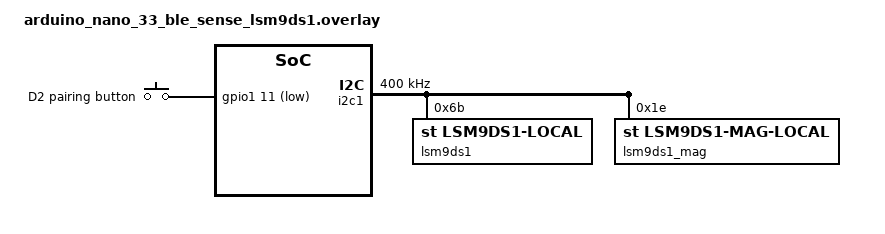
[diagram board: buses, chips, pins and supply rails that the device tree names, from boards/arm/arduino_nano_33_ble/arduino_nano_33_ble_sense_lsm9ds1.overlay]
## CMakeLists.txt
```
cmake_minimum_required(VERSION 3.20.0)

set(BOARD_ROOT ${CMAKE_CURRENT_LIST_DIR})
set(DTS_ROOT ${CMAKE_CURRENT_LIST_DIR})

add_compile_definitions(PERSISTED_CONFIG_SIZE=2048)

find_package(Zephyr REQUIRED HINTS $ENV{ZEPHYR_BASE})
project(NONE)

set(REMAPPER_SRC ../firmware/src)

target_include_directories(app PRIVATE ${REMAPPER_SRC})

target_sources(app PRIVATE
    src/main.cc
    src/gpio.cc
    src/ble_nus.cc
    src/apds9960_sensor.cc
    src/mic_level.cc
    src/motion_fusion.cc
    src/motion_sensor.cc
    src/sensor_inputs.cc
    src/lsm9ds1_local.cc
    ${REMAPPER_SRC}/config.cc
    ${REMAPPER_SRC}/crc.cc
    ${REMAPPER_SRC}/nus_protocol.cc
    ${REMAPPER_SRC}/descriptor_parser.cc
    ${REMAPPER_SRC}/globals.cc
    ${REMAPPER_SRC}/interval_override.cc
    ${REMAPPER_SRC}/our_descriptor.cc
    ${REMAPPER_SRC}/quirks.cc
    ${REMAPPER_SRC}/remapper.cc
    ${REMAPPER_SRC}/ps_auth.cc
)
```

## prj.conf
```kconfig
CONFIG_LOG=y
CONFIG_LOG_MAX_LEVEL=2
CONFIG_LOG_FUNC_NAME_PREFIX_INF=y
CONFIG_LOG_BUFFER_SIZE=4096

CONFIG_USE_DT_CODE_PARTITION=y
CONFIG_KERNEL_BIN_NAME="remapper"
CONFIG_BUILD_OUTPUT_UF2=y

CONFIG_CPLUSPLUS=y
CONFIG_STD_CPP17=y
CONFIG_NEWLIB_LIBC=y
CONFIG_LIB_CPLUSPLUS=y

CONFIG_HEAP_MEM_POOL_SIZE=16384
CONFIG_SYSTEM_WORKQUEUE_STACK_SIZE=16384

CONFIG_FLASH=y
CONFIG_FLASH_PAGE_LAYOUT=y
CONFIG_FLASH_MAP=y
CONFIG_NVS=y
CONFIG_SETTINGS=y

CONFIG_GPIO=y

CONFIG_SENSOR=y
CONFIG_I2C=y
CONFIG_LSM6DSL_TRIGGER_GLOBAL_THREAD=y
CONFIG_LSM6DSL=y
CONFIG_CBPRINTF_FP_SUPPORT=y

CONFIG_BT=y
CONFIG_BT_CENTRAL=y
CONFIG_BT_PERIPHERAL=y
CONFIG_BT_SMP=y
CONFIG_BT_L2CAP_TX_BUF_COUNT=10
CONFIG_BT_L2CAP_TX_MTU=247
CONFIG_BT_BUF_ACL_RX_SIZE=251
CONFIG_BT_BUF_ACL_TX_COUNT=10
CONFIG_BT_BUF_ACL_TX_SIZE=251
CONFIG_BT_USER_DATA_LEN_UPDATE=y
CONFIG_BT_USER_PHY_UPDATE=y
CONFIG_BT_CTLR_PHY_2M=y
CONFIG_BT_GATT_CLIENT=y
CONFIG_BT_GATT_DM=y
CONFIG_BT_HOGP=y
CONFIG_BT_HIDS=y
CONFIG_BT_HIDS_MAX_CLIENT_COUNT=1
CONFIG_BT_HIDS_DEFAULT_PERM_RW_ENCRYPT=y
CONFIG_BT_HIDS_INPUT_REP_MAX=8
CONFIG_BT_HIDS_OUTPUT_REP_MAX=4
CONFIG_BT_HIDS_FEATURE_REP_MAX=4
CONFIG_BT_HIDS_ATTR_MAX=50
CONFIG_BT_CONN_CTX=y
CONFIG_BT_GATT_UUID16_POOL_SIZE=40
CONFIG_BT_GATT_CHRC_POOL_SIZE=20
CONFIG_BT_SCAN=y
CONFIG_BT_SCAN_FILTER_ENABLE=y
CONFIG_BT_SCAN_UUID_CNT=1
CONFIG_BT_SCAN_ADDRESS_CNT=8
CONFIG_BT_PRIVACY=y
CONFIG_BT_SETTINGS=y
CONFIG_BT_MAX_CONN=10
CONFIG_BT_MAX_PAIRED=32
CONFIG_BT_KEYS_OVERWRITE_OLDEST=y
CONFIG_BT_GATT_DM_MAX_ATTRS=100
CONFIG_BT_HOGP_REPORTS_MAX=32
CONFIG_BT_DEVICE_NAME="HID Remapper Bluetooth"
CONFIG_ENABLE_HID_INT_OUT_EP=y

CONFIG_USB_DEVICE_STACK=y
CONFIG_USB_DEVICE_HID=y
CONFIG_USB_HID_DEVICE_COUNT=2
CONFIG_USB_HID_POLL_INTERVAL_MS=1
CONFIG_USB_NRFX_EVT_QUEUE_SIZE=64
CONFIG_USB_DEVICE_VID=0xCAFE
CONFIG_USB_DEVICE_PID=0xBAF2
CONFIG_USB_DEVICE_MANUFACTURER="nRF52840"
CONFIG_USB_DEVICE_PRODUCT="HID Remapper Bluetooth"
CONFIG_USB_SELF_POWERED=n
CONFIG_USB_DEVICE_SOF=y
CONFIG_HID_INTERRUPT_EP_MPS=64

CONFIG_USB_CDC_ACM=y
CONFIG_USB_CDC_ACM_RINGBUF_SIZE=2048
```

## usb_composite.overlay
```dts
/ {
	chosen {
		zephyr,cdc-acm-uart = &cdc_acm_uart0;
	};
};

&zephyr_udc0 {
	cdc_acm_uart0: cdc_acm_uart0 {
		compatible = "zephyr,cdc-acm-uart";
	};
};
```

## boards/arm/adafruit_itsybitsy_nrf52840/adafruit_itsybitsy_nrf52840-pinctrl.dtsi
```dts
/*
 * Copyright (c) 2024
 * SPDX-License-Identifier: Apache-2.0
 */

&pinctrl {
	uart0_default: uart0_default {
		group1 {
			psels = <NRF_PSEL(UART_TX, 0, 24)>,
				<NRF_PSEL(UART_RX, 0, 25)>;
		};
	};

	uart0_sleep: uart0_sleep {
		group1 {
			psels = <NRF_PSEL(UART_TX, 0, 24)>,
				<NRF_PSEL(UART_RX, 0, 25)>;
			low-power-enable;
		};
	};

	i2c0_default: i2c0_default {
		group1 {
			psels = <NRF_PSEL(TWIM_SDA, 0, 12)>,
				<NRF_PSEL(TWIM_SCL, 0, 11)>;
		};
	};

	i2c0_sleep: i2c0_sleep {
		group1 {
			psels = <NRF_PSEL(TWIM_SDA, 0, 12)>,
				<NRF_PSEL(TWIM_SCL, 0, 11)>;
			low-power-enable;
		};
	};

	spi1_default: spi1_default {
		group1 {
			psels = <NRF_PSEL(SPIM_SCK, 0, 14)>,
				<NRF_PSEL(SPIM_MOSI, 0, 13)>,
				<NRF_PSEL(SPIM_MISO, 0, 15)>;
		};
	};

	spi1_sleep: spi1_sleep {
		group1 {
			psels = <NRF_PSEL(SPIM_SCK, 0, 14)>,
				<NRF_PSEL(SPIM_MOSI, 0, 13)>,
				<NRF_PSEL(SPIM_MISO, 0, 15)>;
			low-power-enable;
		};
	};

	qspi_default: qspi_default {
		group1 {
			psels = <NRF_PSEL(QSPI_SCK, 0, 19)>,
				<NRF_PSEL(QSPI_IO0, 0, 17)>,
				<NRF_PSEL(QSPI_IO1, 0, 22)>,
				<NRF_PSEL(QSPI_IO2, 0, 23)>,
				<NRF_PSEL(QSPI_IO3, 0, 21)>,
				<NRF_PSEL(QSPI_CSN, 0, 20)>;
		};
	};

	qspi_sleep: qspi_sleep {
		group1 {
			psels = <NRF_PSEL(QSPI_SCK, 0, 19)>,
				<NRF_PSEL(QSPI_IO0, 0, 17)>,
				<NRF_PSEL(QSPI_IO1, 0, 22)>,
				<NRF_PSEL(QSPI_IO2, 0, 23)>,
				<NRF_PSEL(QSPI_IO3, 0, 21)>,
				<NRF_PSEL(QSPI_CSN, 0, 20)>;
			low-power-enable;
		};
	};
}; 
```

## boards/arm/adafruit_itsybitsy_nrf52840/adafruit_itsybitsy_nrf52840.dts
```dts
/*
 * Copyright (c) 2024
 *
 * SPDX-License-Identifier: Apache-2.0
 */

/dts-v1/;
#include <nordic/nrf52840_qiaa.dtsi>
#include "adafruit_itsybitsy_nrf52840-pinctrl.dtsi"

/ {
	model = "Adafruit ItsyBitsy nRF52840";
	compatible = "adafruit,itsybitsy-nrf52840";

	chosen {
		zephyr,console = &uart0;
		zephyr,shell-uart = &uart0;
		zephyr,uart-mcumgr = &uart0;
		zephyr,bt-mon-uart = &uart0;
		zephyr,bt-c2h-uart = &uart0;
		zephyr,sram = &sram0;
		zephyr,flash = &flash0;
		zephyr,code-partition = &code_partition;
	};

	leds {
		compatible = "gpio-leds";
		led0: led_0 {
			gpios = <&gpio0 6 0>;
			label = "Red LED";
		};
		led1: led_1 {
			gpios = <&gpio0 7 0>;
			label = "Blue LED";
		};
	};

	buttons {
		compatible = "gpio-keys";
		button0: button_0 {
			gpios = <&gpio0 29 (GPIO_PULL_UP | GPIO_ACTIVE_LOW)>;
			label = "Push button switch";
		};
	};

	/* These aliases are provided for compatibility with samples */
	aliases {
		led0 = &led0;
		led1 = &led1;
		sw0 = &button0;
	};
};

&adc {
	status = "okay";
};

&gpiote {
	status = "okay";
};

&gpio0 {
	status = "okay";
};

&gpio1 {
	status = "okay";
};

&uart0 {
	compatible = "nordic,nrf-uart";
	current-speed = <921600>;
	status = "okay";
	pinctrl-0 = <&uart0_default>;
	pinctrl-1 = <&uart0_sleep>;
	pinctrl-names = "default", "sleep";
};

&i2c0 {
	compatible = "nordic,nrf-twi";
	status = "okay";
	pinctrl-0 = <&i2c0_default>;
	pinctrl-1 = <&i2c0_sleep>;
	pinctrl-names = "default", "sleep";
};

&spi1 {
	compatible = "nordic,nrf-spi";
	status = "okay";
	pinctrl-0 = <&spi1_default>;
	pinctrl-1 = <&spi1_sleep>;
	pinctrl-names = "default", "sleep";
};

&qspi {
	status = "okay";
	pinctrl-0 = <&qspi_default>;
	pinctrl-1 = <&qspi_sleep>;
	pinctrl-names = "default", "sleep";
	gd25q16: gd25q16@0 {
		compatible = "nordic,qspi-nor";
		reg = <0>;
		writeoc = "pp4o";
		readoc = "read4io";
		sck-frequency = <16000000>;
		label = "GD25Q16";
		jedec-id = [c8 40 15];
		size = <16777216>;
		has-dpd;
		t-enter-dpd = <20000>;
		t-exit-dpd = <20000>;
		quad-enable-requirements = "S2B1v1";
	};
};

&flash0 {

	partitions {
		compatible = "fixed-partitions";
		#address-cells = <1>;
		#size-cells = <1>;

        sd_partition: partition@0 {
            label = "softdevice";
            reg = <0x00000000 0x00026000>;
        };

        code_partition: partition@26000 {
            label = "code_partition";
            reg = <0x00026000 0x000c6000>;
        };

        storage_partition: partition@ec000 {
            label = "storage";
            reg = <0x000ec000 0x00008000>;
        };

        boot_partition: partition@f4000 {
            label = "adafruit_boot";
            reg = <0x000f4000 0x0000c000>;
        };
	};
};

zephyr_udc0: &usbd {
	compatible = "nordic,nrf-usbd";
	status = "okay";
}; 
```

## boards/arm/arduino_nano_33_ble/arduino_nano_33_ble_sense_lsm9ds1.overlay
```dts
#include <zephyr/dt-bindings/i2c/i2c.h>

/ {
	buttons {
		compatible = "gpio-keys";
		button0: button_0 {
			gpios = <&gpio1 11 (GPIO_PULL_UP | GPIO_ACTIVE_LOW)>;
			label = "D2 pairing button";
		};
	};

	aliases {
		accel0 = &lsm9ds1;
		magn0 = &lsm9ds1_mag;
		sw0 = &button0;
	};
};

/* The onboard sensors use i2c1. Leave the header A4/A5 pins available as
 * logical GPIO 18/19 instead of claiming them for the unused external bus. */
&i2c0 {
	status = "disabled";
};

&i2c1 {
	status = "okay";
	clock-frequency = <I2C_BITRATE_FAST>;

	lsm9ds1: lsm9ds1@6b {
		compatible = "st,lsm9ds1-local";
		reg = <0x6b>;
		status = "okay";
	};

	lsm9ds1_mag: lsm9ds1-mag@1e {
		compatible = "st,lsm9ds1-mag-local";
		reg = <0x1e>;
		status = "okay";
	};
};
```

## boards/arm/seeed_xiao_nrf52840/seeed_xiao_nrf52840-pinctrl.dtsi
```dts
/*
 * Copyright (c) 2022 Nordic Semiconductor
 * SPDX-License-Identifier: Apache-2.0
 */

&pinctrl {
	uart0_default: uart0_default {
		group1 {
			psels = <NRF_PSEL(UART_TX, 1, 11)>,
				<NRF_PSEL(UART_RX, 1, 12)>;
		};
	};

	uart0_sleep: uart0_sleep {
		group1 {
			psels = <NRF_PSEL(UART_TX, 1, 11)>,
				<NRF_PSEL(UART_RX, 1, 12)>;
			low-power-enable;
		};
	};

	i2c0_default: i2c0_default {
		group1 {
			psels = <NRF_PSEL(TWIM_SDA, 0, 7)>,
				<NRF_PSEL(TWIM_SCL, 0, 27)>;
		};
	};

	i2c0_sleep: i2c0_sleep {
		group1 {
			psels = <NRF_PSEL(TWIM_SDA, 0, 7)>,
				<NRF_PSEL(TWIM_SCL, 0, 27)>;
			low-power-enable;
		};
	};

	spi1_default: spi1_default {
		group1 {
			psels = <NRF_PSEL(SPIM_SCK, 1, 13)>,
				<NRF_PSEL(SPIM_MOSI, 1, 15)>,
				<NRF_PSEL(SPIM_MISO, 1, 14)>;
		};
	};

	spi1_sleep: spi1_sleep {
		group1 {
			psels = <NRF_PSEL(SPIM_SCK, 1, 13)>,
				<NRF_PSEL(SPIM_MOSI, 1, 15)>,
				<NRF_PSEL(SPIM_MISO, 1, 14)>;
			low-power-enable;
		};
	};

	qspi_default: qspi_default {
		group1 {
			psels = <NRF_PSEL(QSPI_SCK, 0, 19)>,
				<NRF_PSEL(QSPI_IO0, 0, 17)>,
				<NRF_PSEL(QSPI_IO1, 0, 22)>,
				<NRF_PSEL(QSPI_IO2, 0, 23)>,
				<NRF_PSEL(QSPI_IO3, 0, 21)>,
				<NRF_PSEL(QSPI_CSN, 0, 20)>;
		};
	};

	qspi_sleep: qspi_sleep {
		group1 {
			psels = <NRF_PSEL(QSPI_SCK, 0, 19)>,
				<NRF_PSEL(QSPI_IO0, 0, 17)>,
				<NRF_PSEL(QSPI_IO1, 0, 22)>,
				<NRF_PSEL(QSPI_IO2, 0, 23)>,
				<NRF_PSEL(QSPI_IO3, 0, 21)>,
				<NRF_PSEL(QSPI_CSN, 0, 20)>;
			low-power-enable;
		};
	};

};
```

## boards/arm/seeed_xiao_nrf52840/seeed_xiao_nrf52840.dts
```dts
/*
 * Copyright (c) 2020 Tobias Svehagen
 *
 * SPDX-License-Identifier: Apache-2.0
 */

/dts-v1/;
#include <nordic/nrf52840_qiaa.dtsi>
#include "seeed_xiao_nrf52840-pinctrl.dtsi"

/ {
	model = "Seeed Studio XIAO nRF52840";
	compatible = "seeed,xiao-nrf52840";

	chosen {
		zephyr,console = &uart0;
		zephyr,shell-uart = &uart0;
		zephyr,uart-mcumgr = &uart0;
		zephyr,bt-mon-uart = &uart0;
		zephyr,bt-c2h-uart = &uart0;
		zephyr,sram = &sram0;
		zephyr,flash = &flash0;
		zephyr,code-partition = &code_partition;
	};

	leds {
		compatible = "gpio-leds";
		led0: led_0 {
			gpios = <&gpio0 26 GPIO_ACTIVE_LOW>;
			label = "Red LED";
		};
		led1: led_1 {
			gpios = <&gpio0 6 GPIO_ACTIVE_LOW>;
			label = "Blue LED";
		};
	};

	buttons {
		compatible = "gpio-keys";
		button0: button_0 {
			gpios = <&gpio0 2 (GPIO_PULL_UP | GPIO_ACTIVE_LOW)>;
			label = "Push button switch";
		};
	};

	/* These aliases are provided for compatibility with samples */
	aliases {
		led0 = &led0;
		led1 = &led1;
		sw0 = &button0;
	};
};

&adc {
	status = "okay";
};

&gpiote {
	status = "okay";
};

&gpio0 {
	status = "okay";
};

&gpio1 {
	status = "okay";
};

&uart0 {
	compatible = "nordic,nrf-uart";
	current-speed = <921600>;
	status = "okay";
	pinctrl-0 = <&uart0_default>;
	pinctrl-1 = <&uart0_sleep>;
	pinctrl-names = "default", "sleep";
};

&i2c0 {
	compatible = "nordic,nrf-twi";
	status = "disabled";
	pinctrl-0 = <&i2c0_default>;
	pinctrl-1 = <&i2c0_sleep>;
	pinctrl-names = "default", "sleep";
};

&spi1 {
	compatible = "nordic,nrf-spi";
	status = "okay";
	pinctrl-0 = <&spi1_default>;
	pinctrl-1 = <&spi1_sleep>;
	pinctrl-names = "default", "sleep";
};

&qspi {
	status = "okay";
	pinctrl-0 = <&qspi_default>;
	pinctrl-1 = <&qspi_sleep>;
	pinctrl-names = "default", "sleep";
	gd25q16: gd25q16@0 {
		compatible = "nordic,qspi-nor";
		reg = <0>;
		writeoc = "pp4o";
		readoc = "read4io";
		sck-frequency = <16000000>;
		label = "GD25Q16";
		jedec-id = [c8 40 15];
		size = <16777216>;
		has-dpd;
		t-enter-dpd = <20000>;
		t-exit-dpd = <20000>;
		quad-enable-requirements = "S2B1v1";
	};
};

&flash0 {

	partitions {
		compatible = "fixed-partitions";
		#address-cells = <1>;
		#size-cells = <1>;

        sd_partition: partition@0 {
            label = "softdevice";
            reg = <0x00000000 0x00027000>;
        };

        code_partition: partition@27000 {
            label = "code_partition";
            reg = <0x00027000 0x000c5000>;
        };

        storage_partition: partition@ec000 {
            label = "storage";
            reg = <0x000ec000 0x00008000>;
        };

        boot_partition: partition@f4000 {
            label = "adafruit_boot";
            reg = <0x000f4000 0x0000c000>;
        };
	};
};

zephyr_udc0: &usbd {
	compatible = "nordic,nrf-usbd";
	status = "okay";
};
```

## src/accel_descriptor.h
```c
#ifndef _ACCEL_DESCRIPTOR_H_
#define _ACCEL_DESCRIPTOR_H_

#include <stdint.h>

// HID Report Descriptor for accelerometer (exactly matching horipad format)
static const uint8_t accel_hid_report_desc[] = {
    0x05, 0x01,        // Usage Page (Generic Desktop Ctrls)
    0x09, 0x05,        // Usage (Game Pad)
    0xA1, 0x01,        // Collection (Application)
    0x15, 0x00,        //   Logical Minimum (0)
    0x25, 0x01,        //   Logical Maximum (1)
    0x35, 0x00,        //   Physical Minimum (0)
    0x45, 0x01,        //   Physical Maximum (1)
    0x75, 0x01,        //   Report Size (1)
    0x95, 0x0E,        //   Report Count (14)
    0x05, 0x09,        //   Usage Page (Button)
    0x19, 0x01,        //   Usage Minimum (0x01)
    0x29, 0x0E,        //   Usage Maximum (0x0E)
    0x81, 0x02,        //   Input (Data,Var,Abs,No Wrap,Linear,Preferred State,No Null Position)
    0x95, 0x02,        //   Report Count (2)
    0x81, 0x01,        //   Input (Const,Array,Abs,No Wrap,Linear,Preferred State,No Null Position)
    0x05, 0x01,        //   Usage Page (Generic Desktop Ctrls)
    0x25, 0x07,        //   Logical Maximum (7)
    0x46, 0x3B, 0x01,  //   Physical Maximum (315)
    0x75, 0x04,        //   Report Size (4)
    0x95, 0x01,        //   Report Count (1)
    0x65, 0x14,        //   Unit (System: English Rotation, Length: Centimeter)
    0x09, 0x39,        //   Usage (Hat switch)
    0x81, 0x42,        //   Input (Data,Var,Abs,No Wrap,Linear,Preferred State,Null State)
    0x65, 0x00,        //   Unit (None)
    0x95, 0x01,        //   Report Count (1)
    0x81, 0x01,        //   Input (Const,Array,Abs,No Wrap,Linear,Preferred State,No Null Position)
    0x26, 0xFF, 0x00,  //   Logical Maximum (255)
    0x46, 0xFF, 0x00,  //   Physical Maximum (255)
    0x09, 0x30,        //   Usage (X)
    0x09, 0x31,        //   Usage (Y)
    0x09, 0x32,        //   Usage (Z)
    0x09, 0x35,        //   Usage (Rz)
    0x75, 0x08,        //   Report Size (8)
    0x95, 0x04,        //   Report Count (4)
    0x81, 0x02,        //   Input (Data,Var,Abs,No Wrap,Linear,Preferred State,No Null Position)
    0x75, 0x08,        //   Report Size (8)
    0x95, 0x01,        //   Report Count (1)
    0x81, 0x01,        //   Input (Const,Array,Abs,No Wrap,Linear,Preferred State,No Null Position)
    0xC0,              // End Collection
};

#define ACCEL_HID_REPORT_DESC_SIZE sizeof(accel_hid_report_desc)

#endif // _ACCEL_DESCRIPTOR_H_ 
```

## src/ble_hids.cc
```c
#include "ble_hids.h"

#include "descriptor_parser.h"
#include "globals.h"
#include "our_descriptor.h"
#include "types.h"
#include <bluetooth/services/hids.h>
#include <zephyr/bluetooth/bluetooth.h>
#include <zephyr/bluetooth/conn.h>
#include <zephyr/bluetooth/gatt.h>
#include <zephyr/kernel.h>
#include <zephyr/logging/log.h>
#include <zephyr/sys/util.h>

LOG_MODULE_REGISTER(ble_hids, LOG_LEVEL_DBG);

#define BASE_USB_HID_SPEC_VERSION 0x0101
#define BLE_HIDS_REPORT_MAX_LEN 64

#define hids_obj (*ble_hids_get_instance())

static struct bt_conn* hids_host_conn;
static K_SEM_DEFINE(hids_notify_sem, 1, 1);
static uint8_t report_id_to_index[256];
static uint8_t input_report_count = 0;
static bool hids_notifications_enabled = false;

static void hids_pm_evt_handler(enum bt_hids_pm_evt evt, struct bt_conn* conn) {
    ARG_UNUSED(conn);
    LOG_DBG("Protocol mode event: %u", evt);
}

static void hids_notif_handler(enum bt_hids_notify_evt evt) {
    if (evt == BT_HIDS_CCCD_EVT_NOTIFY_ENABLED) {
        hids_notifications_enabled = true;
        k_sem_give(&hids_notify_sem);
        LOG_INF("BLE HID notifications enabled");
    } else if (evt == BT_HIDS_CCCD_EVT_NOTIFY_DISABLED) {
        hids_notifications_enabled = false;
        k_sem_give(&hids_notify_sem);
        LOG_INF("BLE HID notifications disabled");
    }
}

static void hids_outp_rep_handler(struct bt_hids_rep* rep, struct bt_conn* conn, bool write) {
    ARG_UNUSED(conn);
    if (!write) {
        return;
    }
    LOG_DBG("BLE HID output report len=%u", rep->size);
}

static void hids_notify_complete(struct bt_conn* conn, void* user_data) {
    ARG_UNUSED(conn);
    ARG_UNUSED(user_data);
    k_sem_give(&hids_notify_sem);
}

static uint16_t appearance_for_descriptor(void) {
    switch (our_descriptor_number) {
        case 2:
            return 0x03C4;
        default:
            return 0x03C1;
    }
}

static bool descriptor_has_keyboard(void) {
    return our_descriptor_number == 0 || our_descriptor_number == 1;
}

static bool descriptor_has_mouse(void) {
    return our_descriptor_number == 0 || our_descriptor_number == 1;
}

void ble_hids_init(void) {
    memset(report_id_to_index, 0xFF, sizeof(report_id_to_index));
    input_report_count = 0;

    std::unordered_map<uint8_t, std::unordered_map<uint32_t, usage_def_t>> input_usages;
    std::unordered_map<uint8_t, std::unordered_map<uint32_t, usage_def_t>> output_usages;
    std::unordered_map<uint8_t, std::unordered_map<uint32_t, usage_def_t>> feature_usages;
    bool has_report_id = false;

    auto report_sizes_map = parse_descriptor(
        input_usages,
        output_usages,
        feature_usages,
        has_report_id,
        our_descriptor->descriptor,
        our_descriptor->descriptor_length);

    struct bt_hids_init_param hids_init = {};
    hids_init.info.bcd_hid = BASE_USB_HID_SPEC_VERSION;
    hids_init.info.b_country_code = 0x00;
    hids_init.info.flags = BT_HIDS_REMOTE_WAKE | BT_HIDS_NORMALLY_CONNECTABLE;
    hids_init.pm_evt_handler = hids_pm_evt_handler;
    hids_init.is_kb = descriptor_has_keyboard();
    hids_init.is_mouse = descriptor_has_mouse();

    if (our_descriptor->descriptor_length > UINT8_MAX) {
        LOG_WRN("Report map length %u exceeds BLE HIDS uint8 limit; truncating",
                our_descriptor->descriptor_length);
    }
    hids_init.rep_map.data = our_descriptor->descriptor;
    hids_init.rep_map.size = (uint8_t) MIN((uint32_t) our_descriptor->descriptor_length, (uint32_t) UINT8_MAX);

    for (auto const& [report_id, size] : report_sizes_map[ReportType::INPUT]) {
        if (input_report_count >= CONFIG_BT_HIDS_INPUT_REP_MAX) {
            LOG_WRN("Too many BLE input reports; skipping id=%u", report_id);
            continue;
        }
        if (size == 0 || size > BLE_HIDS_REPORT_MAX_LEN) {
            LOG_WRN("Skipping BLE input report id=%u size=%u", report_id, size);
            continue;
        }
        struct bt_hids_inp_rep* rep = &hids_init.inp_rep_group_init.reports[input_report_count];
        rep->id = report_id;
        rep->size = (uint8_t) size;
        rep->handler = hids_notif_handler;
        rep->perm = BT_GATT_PERM_READ_ENCRYPT;
        report_id_to_index[report_id] = input_report_count;
        input_report_count++;
    }
    hids_init.inp_rep_group_init.cnt = input_report_count;

    uint8_t output_count = 0;
    for (auto const& [report_id, size] : report_sizes_map[ReportType::OUTPUT]) {
        if (output_count >= CONFIG_BT_HIDS_OUTPUT_REP_MAX) {
            break;
        }
        if (size == 0 || size > BLE_HIDS_REPORT_MAX_LEN) {
            continue;
        }
        struct bt_hids_outp_feat_rep* rep = &hids_init.outp_rep_group_init.reports[output_count];
        rep->id = report_id;
        rep->size = (uint8_t) size;
        rep->handler = hids_outp_rep_handler;
        rep->perm = BT_GATT_PERM_READ_ENCRYPT | BT_GATT_PERM_WRITE_ENCRYPT;
        output_count++;
    }
    hids_init.outp_rep_group_init.cnt = output_count;

    uint8_t feature_count = 0;
    for (auto const& [report_id, size] : report_sizes_map[ReportType::FEATURE]) {
        if (feature_count >= CONFIG_BT_HIDS_FEATURE_REP_MAX) {
            break;
        }
        if (size == 0 || size > BLE_HIDS_REPORT_MAX_LEN) {
            continue;
        }
        struct bt_hids_outp_feat_rep* rep = &hids_init.feat_rep_group_init.reports[feature_count];
        rep->id = report_id;
        rep->size = (uint8_t) size;
        rep->handler = hids_outp_rep_handler;
        rep->perm = BT_GATT_PERM_READ_ENCRYPT | BT_GATT_PERM_WRITE_ENCRYPT;
        feature_count++;
    }
    hids_init.feat_rep_group_init.cnt = feature_count;

    int err = bt_hids_init(&hids_obj, &hids_init);
    if (err) {
        LOG_ERR("bt_hids_init failed: %d", err);
        return;
    }

    LOG_INF("BLE HIDS initialized with %u input reports", input_report_count);
}

void ble_hids_on_connected(struct bt_conn* conn) {
    if (!hids_host_conn) {
        hids_host_conn = bt_conn_ref(conn);
    }
    int err = bt_hids_connected(&hids_obj, conn);
    if (err) {
        LOG_WRN("bt_hids_connected failed: %d", err);
    }
}

void ble_hids_on_disconnected(struct bt_conn* conn) {
    bt_hids_disconnected(&hids_obj, conn);
    if (conn == hids_host_conn) {
        bt_conn_unref(hids_host_conn);
        hids_host_conn = NULL;
        hids_notifications_enabled = false;
        k_sem_give(&hids_notify_sem);
    }
}

bool ble_hids_host_connected(void) {
    return hids_host_conn != NULL && hids_notifications_enabled;
}

bool ble_hids_try_send_report(const uint8_t* report_with_id, uint8_t len) {
    if (!hids_host_conn || !hids_notifications_enabled || input_report_count == 0) {
        return false;
    }

    if (k_sem_take(&hids_notify_sem, K_NO_WAIT) != 0) {
        return false;
    }

    const uint8_t* payload = report_with_id;
    uint8_t payload_len = len;
    uint8_t report_id = 0;

    if (payload_len > 0 && payload[0] != 0) {
        report_id = payload[0];
        payload++;
        payload_len--;
    }

    uint8_t rep_index = report_id_to_index[report_id];
    if (rep_index == 0xFF) {
        k_sem_give(&hids_notify_sem);
        return false;
    }

    int err = bt_hids_inp_rep_send(&hids_obj, hids_host_conn, rep_index, payload, payload_len,
                                   hids_notify_complete);
    if (err) {
        k_sem_give(&hids_notify_sem);
        LOG_DBG("bt_hids_inp_rep_send failed: %d", err);
        return false;
    }

    return true;
}

uint16_t ble_hids_appearance(void) {
    return appearance_for_descriptor();
}
```

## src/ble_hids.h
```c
#ifndef BLE_HIDS_H_

#define BLE_HIDS_H_



#include <stdint.h>



struct bt_conn;

struct bt_hids;



#ifdef __cplusplus

extern "C" {

#endif



struct bt_hids* ble_hids_get_instance(void);



void ble_hids_init(void);

void ble_hids_on_connected(struct bt_conn* conn);

void ble_hids_on_disconnected(struct bt_conn* conn);

bool ble_hids_try_send_report(const uint8_t* report_with_id, uint8_t len);

bool ble_hids_host_connected(void);

uint16_t ble_hids_appearance(void);



#ifdef __cplusplus

}

#endif



#endif
```

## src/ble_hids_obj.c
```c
#include <bluetooth/services/hids.h>

BT_HIDS_DEF(hids_obj,
            64, 64, 64, 64, 64, 64, 64, 64,
            64, 64, 64, 64,
            64, 64, 64, 64);

struct bt_hids* ble_hids_get_instance(void) {
    return &hids_obj;
}
```

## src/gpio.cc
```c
#include "gpio.h"

#include <string.h>

#include <zephyr/device.h>
#include <zephyr/devicetree.h>
#include <zephyr/drivers/gpio.h>
#include <zephyr/logging/log.h>
#include <zephyr/sys/util.h>

#include "globals.h"
#include "remapper.h"

LOG_MODULE_REGISTER(remapper_gpio, LOG_LEVEL_DBG);

struct logical_gpio_pin_t {
    const struct device* port;
    gpio_pin_t pin;
};

#define GPIO_PIN(port_, pin_) { DEVICE_DT_GET(DT_NODELABEL(port_)), pin_ }

#if defined(CONFIG_BOARD_SEEED_XIAO_NRF52840)

// GPIO usages use the labels printed on the XIAO header (D0-D10), not the
// nRF52840 port/pin numbers. D0 is reserved for the pairing/clear-bonds input.
static const logical_gpio_pin_t logical_gpio_pins[] = {
    GPIO_PIN(gpio0, 2),   // D0  = P0.02 (pairing input)
    GPIO_PIN(gpio0, 3),   // D1  = P0.03
    GPIO_PIN(gpio0, 28),  // D2  = P0.28
    GPIO_PIN(gpio0, 29),  // D3  = P0.29
    GPIO_PIN(gpio0, 4),   // D4  = P0.04
    GPIO_PIN(gpio0, 5),   // D5  = P0.05
    GPIO_PIN(gpio1, 11),  // D6  = P1.11
    GPIO_PIN(gpio1, 12),  // D7  = P1.12
    GPIO_PIN(gpio1, 13),  // D8  = P1.13
    GPIO_PIN(gpio1, 14),  // D9  = P1.14
    GPIO_PIN(gpio1, 15),  // D10 = P1.15
};

static constexpr uint32_t BOARD_GPIO_VALID_PINS_MASK = GENMASK(10, 1);

#elif defined(CONFIG_BOARD_ARDUINO_NANO_33_BLE_SENSE)

// GPIO usages follow the Arduino header labels: D0-D13 followed by A0-A7 as
// D14-D21. D2 is reserved for the pairing/clear-bonds input.
static const logical_gpio_pin_t logical_gpio_pins[] = {
    GPIO_PIN(gpio1, 10),  // D0  / RX
    GPIO_PIN(gpio1, 3),   // D1  / TX
    GPIO_PIN(gpio1, 11),  // D2  (pairing input)
    GPIO_PIN(gpio1, 12),  // D3
    GPIO_PIN(gpio1, 15),  // D4
    GPIO_PIN(gpio1, 13),  // D5
    GPIO_PIN(gpio1, 14),  // D6
    GPIO_PIN(gpio0, 23),  // D7
    GPIO_PIN(gpio0, 21),  // D8
    GPIO_PIN(gpio0, 27),  // D9
    GPIO_PIN(gpio1, 2),   // D10
    GPIO_PIN(gpio1, 1),   // D11 / MOSI
    GPIO_PIN(gpio1, 8),   // D12 / MISO
    GPIO_PIN(gpio0, 13),  // D13 / SCK
    GPIO_PIN(gpio0, 4),   // D14 / A0
    GPIO_PIN(gpio0, 5),   // D15 / A1
    GPIO_PIN(gpio0, 30),  // D16 / A2
    GPIO_PIN(gpio0, 29),  // D17 / A3
    GPIO_PIN(gpio0, 31),  // D18 / A4 / SDA
    GPIO_PIN(gpio0, 2),   // D19 / A5 / SCL
    GPIO_PIN(gpio0, 28),  // D20 / A6
    GPIO_PIN(gpio0, 3),   // D21 / A7
};

static constexpr uint32_t BOARD_GPIO_VALID_PINS_MASK = GENMASK(21, 0) & ~BIT(2);

#else

// Other Bluetooth boards retain their previous behavior until a logical
// header-to-nRF pin map is defined for them.
static const logical_gpio_pin_t logical_gpio_pins[] = {
    GPIO_PIN(gpio0, 0),
};
static constexpr uint32_t BOARD_GPIO_VALID_PINS_MASK = 0;

#endif

static uint32_t gpio_valid_pins_mask;
static uint32_t gpio_in_mask;
static uint32_t gpio_out_mask;
static uint32_t prev_gpio_state;
static uint32_t configured_output_mask;
static uint64_t last_gpio_change[32];
static bool set_gpio_dir_pending;

void gpio_pins_init() {
    gpio_valid_pins_mask = BOARD_GPIO_VALID_PINS_MASK;

    for (uint8_t logical_pin = 0; logical_pin < ARRAY_SIZE(logical_gpio_pins); logical_pin++) {
        uint32_t bit = BIT(logical_pin);
        if (!(gpio_valid_pins_mask & bit)) {
            continue;
        }

        const logical_gpio_pin_t& pin = logical_gpio_pins[logical_pin];
        if (!device_is_ready(pin.port)) {
            LOG_ERR("GPIO %u device %s is not ready", logical_pin, pin.port->name);
            gpio_valid_pins_mask &= ~bit;
        }
    }
}

void set_gpio_inout_masks(uint32_t in_mask, uint32_t out_mask) {
    // Match the non-Bluetooth firmware: input wins if a pin is used in both
    // directions, and every valid non-output pin is monitored as an input.
    gpio_out_mask = (out_mask & ~in_mask) & gpio_valid_pins_mask;
    gpio_in_mask = gpio_valid_pins_mask & ~gpio_out_mask;
    set_gpio_dir_pending = true;
}

static void set_gpio_dir() {
    for (uint8_t logical_pin = 0; logical_pin < ARRAY_SIZE(logical_gpio_pins); logical_pin++) {
        uint32_t bit = BIT(logical_pin);
        if (!(gpio_valid_pins_mask & bit)) {
            continue;
        }

        const logical_gpio_pin_t& pin = logical_gpio_pins[logical_pin];
        gpio_flags_t flags = GPIO_INPUT;
        if (gpio_in_mask & bit) {
            flags |= GPIO_PULL_UP;
        }

        int err = gpio_pin_configure(pin.port, pin.pin, flags);
        if (err != 0) {
            LOG_ERR("gpio_pin_configure(GPIO %u input) returned %d", logical_pin, err);
        }
    }

    // Output direction is applied by write_gpio(), just like on RP2040.
    configured_output_mask = 0;
}

void apply_pending_gpio_direction() {
    if (set_gpio_dir_pending && !suspended) {
        set_gpio_dir();
        set_gpio_dir_pending = false;
    }
}

bool read_gpio(uint64_t now) {
    uint32_t gpio_state = 0;

    for (uint8_t logical_pin = 0; logical_pin < ARRAY_SIZE(logical_gpio_pins); logical_pin++) {
        uint32_t bit = BIT(logical_pin);
        if (!(gpio_in_mask & bit)) {
            continue;
        }

        const logical_gpio_pin_t& pin = logical_gpio_pins[logical_pin];
        int value = gpio_pin_get_raw(pin.port, pin.pin);
        if (value < 0) {
            LOG_ERR("gpio_pin_get_raw(GPIO %u) returned %d", logical_pin, value);
        } else if (value != 0) {
            gpio_state |= bit;
        }
    }

    uint32_t changed = prev_gpio_state ^ gpio_state;
    if (changed != 0) {
        for (uint8_t logical_pin = 0; logical_pin < ARRAY_SIZE(logical_gpio_pins); logical_pin++) {
            uint32_t bit = BIT(logical_pin);
            if (!(changed & bit)) {
                continue;
            }

            if (last_gpio_change[logical_pin] + gpio_debounce_time <= now) {
                uint32_t usage = GPIO_USAGE_PAGE | logical_pin;
                int32_t state = !(gpio_state & bit);  // active low
                set_input_state(usage, state, state);
                if (monitor_enabled) {
                    monitor_usage(usage, state, 0);
                }
                last_gpio_change[logical_pin] = now;
            } else {
                // Ignore this transition and retain the previous stable state.
                gpio_state ^= bit;
                changed ^= bit;
            }
        }
        prev_gpio_state = gpio_state;
    }

    return changed != 0;
}

void write_gpio() {
    if (suspended) {
        return;
    }

    uint32_t value =
        (uint32_t) gpio_out_state[0] |
        ((uint32_t) gpio_out_state[1] << 8) |
        ((uint32_t) gpio_out_state[2] << 16) |
        ((uint32_t) gpio_out_state[3] << 24);

    for (uint8_t logical_pin = 0; logical_pin < ARRAY_SIZE(logical_gpio_pins); logical_pin++) {
        uint32_t bit = BIT(logical_pin);
        if (!(gpio_out_mask & bit)) {
            continue;
        }

        const logical_gpio_pin_t& pin = logical_gpio_pins[logical_pin];
        bool active = value & bit;
        int err = 0;

        if (gpio_output_mode == 0) {
            if (configured_output_mask & bit) {
                err = gpio_pin_set_raw(pin.port, pin.pin, active);
            } else {
                err = gpio_pin_configure(
                    pin.port,
                    pin.pin,
                    active ? GPIO_OUTPUT_HIGH : GPIO_OUTPUT_LOW);
                if (err == 0) {
                    configured_output_mask |= bit;
                }
            }
        } else if (active) {
            if (configured_output_mask & bit) {
                err = gpio_pin_set_raw(pin.port, pin.pin, 0);
            } else {
                err = gpio_pin_configure(pin.port, pin.pin, GPIO_OUTPUT_LOW);
                if (err == 0) {
                    configured_output_mask |= bit;
                }
            }
        } else if (configured_output_mask & bit) {
            // Open-drain compatibility mode: inactive is high impedance.
            err = gpio_pin_configure(pin.port, pin.pin, GPIO_INPUT);
            if (err == 0) {
                configured_output_mask &= ~bit;
            }
        }

        if (err != 0) {
            LOG_ERR("writing GPIO %u returned %d", logical_pin, err);
        }
    }

    memset(gpio_out_state, 0, sizeof(gpio_out_state));
}
```

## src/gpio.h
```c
#pragma once

#include <stdint.h>

void gpio_pins_init();
bool read_gpio(uint64_t now);
void write_gpio();
void apply_pending_gpio_direction();
```

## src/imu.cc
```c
#include "imu.h"
#include "imu_descriptor.h"
#include "config.h"
#include "descriptor_parser.h"
#include "globals.h"
#include "platform.h"
#include "remapper.h"

#include <zephyr/drivers/gpio.h>
#include <zephyr/kernel.h>
#include <zephyr/drivers/sensor.h>
#include <zephyr/device.h>
#include <zephyr/devicetree.h>
#include <math.h>

#if DT_NODE_EXISTS(DT_NODELABEL(lsm6ds3tr_c))

#define IMU_SAMPLE_RATE_MS 16
#define IMU_VIRTUAL_INTERFACE 0x1000
#define PI 3.14159265359
#define CALIBRATION_SAMPLES 200
#define DEG_TO_RAD (PI / 180.0)
#define RAD_TO_DEG (180.0 / PI)
#define GYRO_DEADZONE 0.02
#define MAHONY_KP 2.0f
#define MAHONY_KI 0.005f

static const struct device* imu_dev;
static void imu_work_fn(struct k_work* work);
static K_WORK_DELAYABLE_DEFINE(imu_work, imu_work_fn);

static double qw = 1.0;
static double qx = 0.0;
static double qy = 0.0;
static double qz = 0.0;

static double yaw_offset = 0.0;
static double pitch_offset = 0.0;
static double roll_offset = 0.0;

static int64_t last_timestamp = 0;

static double gyro_bias_x = 0.0;
static double gyro_bias_y = 0.0;
static double gyro_bias_z = 0.0;
static double accel_bias_x = 0.0;
static double accel_bias_y = 0.0;
static double accel_bias_z = 0.0;
static bool is_calibrated = false;

static double hp_prev = 0.0, lp_prev = 0.0;
static double alpha = 0.9;

extern const struct gpio_dt_spec led0;
extern struct k_work_delayable activity_led_off_work;

static double integral_fbx = 0.0;
static double integral_fby = 0.0; 
static double integral_fbz = 0.0;

static uint16_t scale_angle_to_uint16(double angle, double min_angle, double max_angle) {
    if (angle > max_angle) angle = max_angle;
    if (angle < min_angle) angle = min_angle;
    
    double normalized = (angle - min_angle) / (max_angle - min_angle);
    int scaled = (int)(normalized * 65535.0);
    
    if (scaled > 65535) scaled = 65535;
    if (scaled < 0) scaled = 0;
    
    return (uint16_t)scaled;
}

static void normalize_yaw(double* yaw) {
    while (*yaw >= 360.0) *yaw -= 360.0;
    while (*yaw < 0.0) *yaw += 360.0;
}

static void mahony_filter_update(double gx, double gy, double gz, 
                                double ax, double ay, double az, double dt) {
    double recipNorm;
    double vx, vy, vz;
    double ex, ey, ez;
    double pa, pb, pc;

    if (!((ax == 0.0) && (ay == 0.0) && (az == 0.0))) {
        
        recipNorm = 1.0 / sqrt(ax * ax + ay * ay + az * az);
        ax *= recipNorm;
        ay *= recipNorm;
        az *= recipNorm;

        vx = 2.0 * (qx * qz - qw * qy);
        vy = 2.0 * (qw * qx + qy * qz);
        vz = qw * qw - qx * qx - qy * qy + qz * qz;

        ex = (ay * vz - az * vy);
        ey = (az * vx - ax * vz);
        ez = (ax * vy - ay * vx);
        
        if (MAHONY_KI > 0.0) {
            integral_fbx += MAHONY_KI * ex * dt;
            integral_fby += MAHONY_KI * ey * dt;
            integral_fbz += MAHONY_KI * ez * dt;
            gx += integral_fbx;
            gy += integral_fby;
            gz += integral_fbz;
        } else {
            integral_fbx = 0.0;
            integral_fby = 0.0;
            integral_fbz = 0.0;
        }

        gx += MAHONY_KP * ex;
        gy += MAHONY_KP * ey;
        gz += MAHONY_KP * ez;
    }

    gx *= (0.5 * dt);
    gy *= (0.5 * dt);
    gz *= (0.5 * dt);
    
    pa = qx;
    pb = qy;
    pc = qz;
    
    qw += (-pa * gx - pb * gy - pc * gz);
    qx += ( qw * gx + pb * gz - pc * gy);
    qy += ( qw * gy - pa * gz + pc * gx);
    qz += ( qw * gz + pa * gy - pb * gx);

    recipNorm = 1.0 / sqrt(qw * qw + qx * qx + qy * qy + qz * qz);
    qw *= recipNorm;
    qx *= recipNorm;
    qy *= recipNorm;
    qz *= recipNorm;
}



static void quaternion_to_ypr(double* yaw, double* pitch, double* roll) {
    *yaw = atan2(2.0 * (qw * qz + qx * qy), 1.0 - 2.0 * (qy * qy + qz * qz)) * RAD_TO_DEG;
    *pitch = asin(2.0 * (qw * qy - qz * qx)) * RAD_TO_DEG;
    *roll = atan2(2.0 * (qw * qx + qy * qz), 1.0 - 2.0 * (qx * qx + qy * qy)) * RAD_TO_DEG;
    
    normalize_yaw(yaw);
}

static void calibrate_orientation(double yaw, double pitch, double roll) {
    yaw_offset = yaw;
    pitch_offset = pitch;
    roll_offset = roll;
}

static double apply_deadzone(double value, double deadzone) {
    if (fabs(value) < deadzone) {
        return 0.0;
    }
    return value > 0 ? value - deadzone : value + deadzone;
}

static bool calibrate_sensors(void) {
    struct sensor_value accel[3];
    struct sensor_value angular[3];
    
    double sum_accel_x = 0.0, sum_accel_y = 0.0, sum_accel_z = 0.0;
    double sum_gyro_x = 0.0, sum_gyro_y = 0.0, sum_gyro_z = 0.0;
    
    for (int i = 0; i < CALIBRATION_SAMPLES; i++) {
        if (sensor_sample_fetch(imu_dev) < 0) {
            return false;
        }
        
        if (sensor_channel_get(imu_dev, SENSOR_CHAN_ACCEL_X, &accel[0]) < 0 ||
            sensor_channel_get(imu_dev, SENSOR_CHAN_ACCEL_Y, &accel[1]) < 0 ||
            sensor_channel_get(imu_dev, SENSOR_CHAN_ACCEL_Z, &accel[2]) < 0) {
            return false;
        }
        
        if (sensor_channel_get(imu_dev, SENSOR_CHAN_GYRO_X, &angular[0]) < 0 ||
            sensor_channel_get(imu_dev, SENSOR_CHAN_GYRO_Y, &angular[1]) < 0 ||
            sensor_channel_get(imu_dev, SENSOR_CHAN_GYRO_Z, &angular[2]) < 0) {
            return false;
        }
        
        sum_accel_x += sensor_value_to_double(&accel[0]);
        sum_accel_y += sensor_value_to_double(&accel[1]);
        sum_accel_z += sensor_value_to_double(&accel[2]);
        
        sum_gyro_x += sensor_value_to_double(&angular[0]);
        sum_gyro_y += sensor_value_to_double(&angular[1]);
        sum_gyro_z += sensor_value_to_double(&angular[2]);
        
        k_msleep(5);
    }
    
    accel_bias_x = sum_accel_x / CALIBRATION_SAMPLES;
    accel_bias_y = sum_accel_y / CALIBRATION_SAMPLES;
    accel_bias_z = sum_accel_z / CALIBRATION_SAMPLES - 9.81;
    
    gyro_bias_x = sum_gyro_x / CALIBRATION_SAMPLES;
    gyro_bias_y = sum_gyro_y / CALIBRATION_SAMPLES;
    gyro_bias_z = sum_gyro_z / CALIBRATION_SAMPLES;
    
    return true;
}

static void imu_work_fn(struct k_work* work) {
    struct sensor_value accel[3];
    struct sensor_value angular[3];

    if (!imu_dev) {
        k_work_reschedule(&imu_work, K_MSEC(IMU_SAMPLE_RATE_MS));
        return;
    }

    int64_t now = k_uptime_get();
    double dt = last_timestamp ? (now - last_timestamp) / 1000.0 : IMU_SAMPLE_RATE_MS / 1000.0;
    last_timestamp = now;

    if (!is_calibrated) {
        if (calibrate_sensors()) {
            is_calibrated = true;
            double yaw, pitch, roll;
            quaternion_to_ypr(&yaw, &pitch, &roll);
            calibrate_orientation(yaw, pitch, roll);
        } else {
            k_work_reschedule(&imu_work, K_MSEC(1000));
            return;
        }
    }

    if (sensor_sample_fetch(imu_dev) < 0) {
        gpio_pin_set_dt(&led0, false);
        k_work_reschedule(&imu_work, K_MSEC(IMU_SAMPLE_RATE_MS));
        return;
    }
    
    if (sensor_channel_get(imu_dev, SENSOR_CHAN_ACCEL_X, &accel[0]) < 0 ||
        sensor_channel_get(imu_dev, SENSOR_CHAN_ACCEL_Y, &accel[1]) < 0 ||
        sensor_channel_get(imu_dev, SENSOR_CHAN_ACCEL_Z, &accel[2]) < 0) {
        gpio_pin_set_dt(&led0, false);
        k_work_reschedule(&imu_work, K_MSEC(IMU_SAMPLE_RATE_MS));
        return;
    }
    
    if (sensor_channel_get(imu_dev, SENSOR_CHAN_GYRO_X, &angular[0]) < 0 ||
        sensor_channel_get(imu_dev, SENSOR_CHAN_GYRO_Y, &angular[1]) < 0 ||
        sensor_channel_get(imu_dev, SENSOR_CHAN_GYRO_Z, &angular[2]) < 0) {
        gpio_pin_set_dt(&led0, false);
        k_work_reschedule(&imu_work, K_MSEC(IMU_SAMPLE_RATE_MS));
        return;
    }
    
    double accel_x = sensor_value_to_double(&accel[0]) - accel_bias_x;
    double accel_y = sensor_value_to_double(&accel[1]) - accel_bias_y;
    double accel_z = sensor_value_to_double(&accel[2]) - accel_bias_z;
    
    double angular_x = sensor_value_to_double(&angular[0]) - gyro_bias_x;
    double angular_y = sensor_value_to_double(&angular[1]) - gyro_bias_y;
    double angular_z = sensor_value_to_double(&angular[2]) - gyro_bias_z;
    
    angular_x = apply_deadzone(angular_x, GYRO_DEADZONE);
    angular_y = apply_deadzone(angular_y, GYRO_DEADZONE);
    angular_z = apply_deadzone(angular_z, GYRO_DEADZONE);
    
    mahony_filter_update(angular_x, angular_y, angular_z, accel_x, accel_y, accel_z, dt);
    
    double yaw, pitch, roll;
    quaternion_to_ypr(&yaw, &pitch, &roll);
    
    double yaw_corrected = yaw - yaw_offset;
    double pitch_corrected = pitch - pitch_offset;
    double roll_corrected = roll - roll_offset;
    
    normalize_yaw(&yaw_corrected);
    
    double accel_mag = sqrt(accel_x * accel_x + accel_y * accel_y + accel_z * accel_z);
    double lp = alpha * lp_prev + (1.0 - alpha) * accel_mag;
    double hp = accel_mag - lp;
    hp_prev = hp; 
    lp_prev = lp;
    
    uint16_t yaw_scaled = scale_angle_to_uint16(yaw_corrected, 0.0, 360.0);
    uint16_t pitch_scaled = scale_angle_to_uint16(pitch_corrected, -90.0, 90.0);
    uint16_t roll_scaled = scale_angle_to_uint16(roll_corrected, -180.0, 180.0);
    
    uint16_t magnitude_scaled = (uint16_t)(fmin(fabs(hp) * 2621.4, 65535.0));
    
    int16_t accel_x_raw = (int16_t)(accel_x * 8192.0);
    int16_t accel_y_raw = (int16_t)(accel_y * 8192.0);
    int16_t accel_z_raw = (int16_t)(accel_z * 8192.0);
    
    int16_t gyro_x_raw = (int16_t)(angular_x * 16.384);
    int16_t gyro_y_raw = (int16_t)(angular_y * 16.384);  
    int16_t gyro_z_raw = (int16_t)(angular_z * 16.384);
    
    imu_report_t imu_report = { 
        .yaw = yaw_scaled,
        .pitch = pitch_scaled,
        .roll = roll_scaled,
        .magnitude = magnitude_scaled,
        .accel_x = accel_x_raw,
        .accel_y = accel_y_raw,
        .accel_z = accel_z_raw,
        .gyro_x = gyro_x_raw,
        .gyro_y = gyro_y_raw,
        .gyro_z = gyro_z_raw
    };
    
    handle_received_report((uint8_t*)&imu_report, (int)sizeof(imu_report), IMU_VIRTUAL_INTERFACE);

    k_work_cancel_delayable(&activity_led_off_work);
    gpio_pin_set_dt(&led0, true);
    k_work_reschedule(&activity_led_off_work, K_MSEC(50));

    k_work_reschedule(&imu_work, K_MSEC(IMU_SAMPLE_RATE_MS));
}

bool imu_init() {
    imu_dev = DEVICE_DT_GET(DT_NODELABEL(lsm6ds3tr_c));
    
    if (!device_is_ready(imu_dev)) {
        return false;
    }
    
    struct sensor_value odr_attr;
    odr_attr.val1 = 104;
    odr_attr.val2 = 0;

    if (sensor_attr_set(imu_dev, SENSOR_CHAN_ACCEL_XYZ,
                        SENSOR_ATTR_SAMPLING_FREQUENCY, &odr_attr) < 0) {
        return false;
    }

    if (sensor_attr_set(imu_dev, SENSOR_CHAN_GYRO_XYZ,
                        SENSOR_ATTR_SAMPLING_FREQUENCY, &odr_attr) < 0) {
        return false;
    }

    struct sensor_value accel_scale_attr;
    accel_scale_attr.val1 = 4;
    accel_scale_attr.val2 = 0;

    sensor_attr_set(imu_dev, SENSOR_CHAN_ACCEL_XYZ,
                     SENSOR_ATTR_FULL_SCALE, &accel_scale_attr);

    struct sensor_value angular_scale_attr;
    angular_scale_attr.val1 = 2000;
    angular_scale_attr.val2 = 0;

    sensor_attr_set(imu_dev, SENSOR_CHAN_GYRO_XYZ,
                     SENSOR_ATTR_FULL_SCALE, &angular_scale_attr);
    
    if (sensor_sample_fetch(imu_dev) < 0) {
        return false;
    }

    parse_descriptor(0x0F0D, 0x00C1, imu_hid_report_desc, IMU_HID_REPORT_DESC_SIZE, IMU_VIRTUAL_INTERFACE, 0);
    device_connected_callback(IMU_VIRTUAL_INTERFACE, 0x0F0D, 0x00C1, 0);
    
    their_descriptor_updated = true;

    k_work_schedule(&imu_work, K_MSEC(IMU_SAMPLE_RATE_MS));

    return true;
}

void imu_recalibrate_orientation() {
    if (is_calibrated) {
        double yaw, pitch, roll;
        quaternion_to_ypr(&yaw, &pitch, &roll);
        calibrate_orientation(yaw, pitch, roll);
    }
}

#else

bool imu_init() {
    return true;
}

#endif 
```

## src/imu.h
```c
#pragma once

#include <zephyr/drivers/sensor.h>
#include <zephyr/drivers/gpio.h>
#include <zephyr/kernel.h>

extern const struct gpio_dt_spec led0;
extern struct k_work_delayable activity_led_off_work;

bool imu_init(); 
void imu_recalibrate_orientation(); 
```

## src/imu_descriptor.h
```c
#ifndef _IMU_DESCRIPTOR_H_
#define _IMU_DESCRIPTOR_H_

#include <stdint.h>

// Custom HID Report Descriptor for orientation data (yaw, pitch, roll) and acceleration magnitude
static const uint8_t imu_hid_report_desc[] = {
    0x05, 0x20,        // Usage Page (Sensor)
    0x09, 0x8A,        // Usage (Motion: Orientation)
    0xA1, 0x01,        // Collection (Application)
    
    // Yaw (rotation around Z-axis)
    0x05, 0x20,        //   Usage Page (Sensor)
    0x09, 0x8D,        //   Usage (Orientation: Yaw)
    0x15, 0x00,        //   Logical Minimum (0)
    0x27, 0xFF, 0xFF, 0x00, 0x00,  //   Logical Maximum (65535)
    0x75, 0x10,        //   Report Size (16 bits)
    0x95, 0x01,        //   Report Count (1)
    0x55, 0x00,        //   Unit Exponent (0)
    0x65, 0x14,        //   Unit (Degrees)
    0x81, 0x02,        //   Input (Data,Var,Abs)
    
    // Pitch (rotation around X-axis)
    0x09, 0x8E,        //   Usage (Orientation: Pitch)
    0x81, 0x02,        //   Input (Data,Var,Abs)
    
    // Roll (rotation around Y-axis)
    0x09, 0x8F,        //   Usage (Orientation: Roll)
    0x81, 0x02,        //   Input (Data,Var,Abs)
    
    // Acceleration Magnitude
    0x05, 0x20,        //   Usage Page (Sensor)
    0x09, 0x73,        //   Usage (Motion: Acceleration)
    0x15, 0x00,        //   Logical Minimum (0)
    0x27, 0xFF, 0xFF, 0x00, 0x00,  //   Logical Maximum (65535)
    0x75, 0x10,        //   Report Size (16 bits)
    0x95, 0x01,        //   Report Count (1)
    0x55, 0x00,        //   Unit Exponent (0)
    0x66, 0x14, 0xF0,  //   Unit (m/s²)
    0x81, 0x02,        //   Input (Data,Var,Abs)
    
    // Raw Accelerometer Data (X, Y, Z)
    0x05, 0x20,        //   Usage Page (Sensor)
    0x0A, 0x50, 0x04,  //   Usage (Acceleration X)
    0x16, 0x00, 0x80,  //   Logical Minimum (-32768)
    0x26, 0xFF, 0x7F,  //   Logical Maximum (32767)
    0x75, 0x10,        //   Report Size (16 bits)
    0x95, 0x01,        //   Report Count (1)
    0x55, 0x0E,        //   Unit Exponent (-2, for 0.01 units)
    0x66, 0x14, 0xF0,  //   Unit (m/s²)
    0x81, 0x02,        //   Input (Data,Var,Abs)
    
    0x0A, 0x51, 0x04,  //   Usage (Acceleration Y)
    0x81, 0x02,        //   Input (Data,Var,Abs)
    
    0x0A, 0x52, 0x04,  //   Usage (Acceleration Z)
    0x81, 0x02,        //   Input (Data,Var,Abs)
    
    // Raw Gyroscope Data (X, Y, Z)
    0x0A, 0x53, 0x04,  //   Usage (Angular Velocity X)
    0x66, 0x14, 0x00,  //   Unit (degrees/s)
    0x81, 0x02,        //   Input (Data,Var,Abs)
    
    0x0A, 0x54, 0x04,  //   Usage (Angular Velocity Y)
    0x81, 0x02,        //   Input (Data,Var,Abs)
    
    0x0A, 0x55, 0x04,  //   Usage (Angular Velocity Z)
    0x81, 0x02,        //   Input (Data,Var,Abs)
    
    0xC0,              // End Collection
};

#define IMU_HID_REPORT_DESC_SIZE sizeof(imu_hid_report_desc)

// Complete IMU report structure with processed orientation + raw sensor data
typedef struct {
    // Processed orientation data (for easy joystick use)
    uint16_t yaw;       // Yaw angle (0-65535 representing 0 to 360 degrees)
    uint16_t pitch;     // Pitch angle (0-65535 representing -90 to +90 degrees)
    uint16_t roll;      // Roll angle (0-65535 representing -180 to +180 degrees)
    uint16_t magnitude; // High-pass filtered acceleration magnitude (0-65535)
    
    // Raw sensor data (DualShock 4 compatible)
    int16_t accel_x;    // Raw accelerometer X (-32768 to +32767, ±4g, 8192 LSB/g)
    int16_t accel_y;    // Raw accelerometer Y (-32768 to +32767, ±4g, 8192 LSB/g)
    int16_t accel_z;    // Raw accelerometer Z (-32768 to +32767, ±4g, 8192 LSB/g)
    int16_t gyro_x;     // Raw gyroscope X (-32768 to +32767, ±2000°/s, 16.384 LSB/°/s)
    int16_t gyro_y;     // Raw gyroscope Y (-32768 to +32767, ±2000°/s, 16.384 LSB/°/s) 
    int16_t gyro_z;     // Raw gyroscope Z (-32768 to +32767, ±2000°/s, 16.384 LSB/°/s)
} __attribute__((packed)) imu_report_t;

#endif // _IMU_DESCRIPTOR_H_ 
```

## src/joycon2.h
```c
#ifndef JOYCON2_H
#define JOYCON2_H

#include <bluetooth/gatt_dm.h>
#include <bluetooth/scan.h>
#include <bluetooth/services/hogp.h>
#include <zephyr/bluetooth/bluetooth.h>
#include <zephyr/bluetooth/conn.h>
#include <zephyr/bluetooth/gatt.h>

// Joy-Con 2 GATT UUIDs
static const uint8_t JOYCON2_INPUT_REPORT_UUID_VAL[16] = {0xbe,0xe9,0x7d,0xab,0xfe,0x89,0xad,0x49,0x82,0x8f,0x11,0x8f,0x09,0xdf,0x7f,0xd2};
static const uint8_t JOYCON2_WRITE_COMMAND_UUID_VAL[16] = {0xc9,0x4a,0x9d,0x64,0xb7,0x8e,0x6c,0x4e,0xaf,0x44,0x1e,0xa5,0x4f,0xe5,0xf0,0x05};

// Joy-Con 2 identification constants
#define JOYCON2_MANUFACTURER_ID 0x057E
#define JOYCON2_LEFT_NAME "Joy-Con (L)"
#define JOYCON2_RIGHT_NAME "Joy-Con (R)"

// Joy-Con 2 connection structure
struct joycon2_connection {
    struct bt_conn* conn;
    uint16_t input_handle;
    uint16_t input_ccc_handle;
    uint16_t write_handle;
    struct bt_gatt_subscribe_params notify_sub_params;
    bool sensors_enabled;
};

// Function declarations
bool joycon2_is_device(const struct bt_scan_device_info* device_info);
void joycon2_mark_candidate_addr(const bt_addr_le_t* addr);
void joycon2_assign_connection(struct bt_conn* conn);
bool joycon2_is_connection(uint8_t conn_idx);
void joycon2_discover_characteristics(struct bt_conn* conn, const struct bt_gatt_dm* dm);
int joycon2_subscribe_input(struct bt_conn* conn);
void joycon2_enable_sensors(struct bt_conn* conn, uint16_t write_handle);
void joycon2_decode_and_handle_report(const uint8_t* data, uint8_t len, uint16_t interface);
void joycon2_cleanup_connection(uint8_t conn_idx);

// Helper function declarations
struct joycon2_connection* joycon2_find_connection(struct bt_conn* conn);
bool joycon2_is_connection_by_conn(struct bt_conn* conn);

// External variables
extern struct joycon2_connection joycon2_conns[];
extern int joycon2_count;

#endif // JOYCON2_H
```
